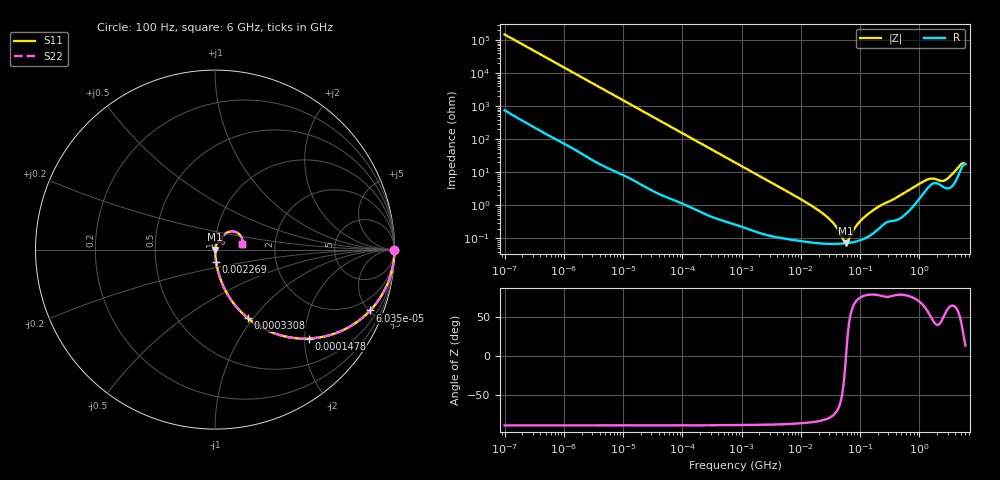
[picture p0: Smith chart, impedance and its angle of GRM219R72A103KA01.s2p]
!Murata Part Number: GRM219R72A103KA01
!These Parameters are Measured in Series Mode Connection
!Data Generated on Mar 30, 2021
!  o--ll--o
!Port1  Port2
!  o------o
!Operation Temp=25[degC], DC Bias Voltage=0[V]
!Freq. Start=100[Hz] Stop=6[GHz] 401[Steps]
# Hz S RI R 50
!Freq.(Hz) S11(Real) S11(Imag) S21(Real) S21(Imag) S12(Real) S12(Imag) S22(Real) S22(Imag)
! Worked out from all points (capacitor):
!   401 points, 100 Hz to 6 GHz, reference 50 ohm
!   read as one part in series: C = 10.6 nF near 109 Hz
!   lowest |Z| = 71.9 mohm at 56.99 MHz (marker M1)
!   series resonance near 57.94 MHz, so ESL is about 710 pH
!   S11 on the Smith chart (normalised r, x): 100 Hz: open; 60.35 kHz: 1.03, -5.09; 147.8 kHz: 1.02, -2.09; 330.8 kHz: 1.01, -0.94; 2.269 MHz: 1.00, -0.14; 6 GHz: 1.35, +0.08
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100  1 -0.000664  3.8e-06 0.000664  3.8e-06 0.000664  1 -0.000664
2008  0.9998 -0.0132  0.000239 0.0132  0.000239 0.0132  0.9998 -0.0132
12041  0.9934 -0.0783  0.00661 0.0783  0.00661 0.0783  0.9934 -0.0783
40335  0.9341 -0.2452  0.0659 0.2452  0.0659 0.2452  0.9341 -0.2452
60352  0.8646 -0.3389  0.1354 0.3389  0.1354 0.3389  0.8646 -0.3389
147774  0.5212 -0.4956  0.4788 0.4956  0.4788 0.4956  0.5212 -0.4956
330837  0.1818 -0.3811  0.8182 0.3811  0.8182 0.3811  0.1818 -0.3811
774597  0.041 -0.1919  0.959 0.1919  0.959 0.1919  0.041 -0.1919
2268635  0.00608 -0.0685  0.9939 0.0685  0.9939 0.0685  0.00608 -0.0685
1.555665e7  0.000836 -0.00949  0.9992 0.00949  0.9992 0.00949  0.000836 -0.00949
3.330331e7  0.000692 -0.00322  0.9993 0.00322  0.9993 0.00322  0.000692 -0.00322
3.983537e7  0.000689 -0.00212  0.9993 0.00212  0.9993 0.00212  0.000689 -0.00212
5.699437e7  0.000712 -8.98e-05  0.9993 8.98e-05  0.9993 8.98e-05  0.000712 -8.98e-05
6.233367e7  0.000726 0.000406  0.9993 -0.000406  0.9993 -0.000406  0.000726 0.000406
8.918374e7  0.00083 0.00247  0.9992 -0.00247  0.9992 -0.00247  0.00083 0.00247
1.166697e8  0.000993 0.00421  0.999 -0.00421  0.999 -0.00421  0.000993 0.00421
1.909225e8  0.0018 0.00821  0.9982 -0.00821  0.9982 -0.00821  0.0018 0.00821
3.124326e8  0.00342 0.0128  0.9966 -0.0128  0.9966 -0.0128  0.00342 0.0128
1.369159e9  0.0339 0.0478  0.9661 -0.0478  0.9661 -0.0478  0.0339 0.0478
2.679998e9  0.0352 0.0425  0.9648 -0.0425  0.9648 -0.0425  0.0352 0.0425
4.796499e9  0.1026 0.1011  0.8974 -0.1011  0.8974 -0.1011  0.1026 0.1011
6e9  0.1495 0.029  0.8505 -0.029  0.8505 -0.029  0.1495 0.029
